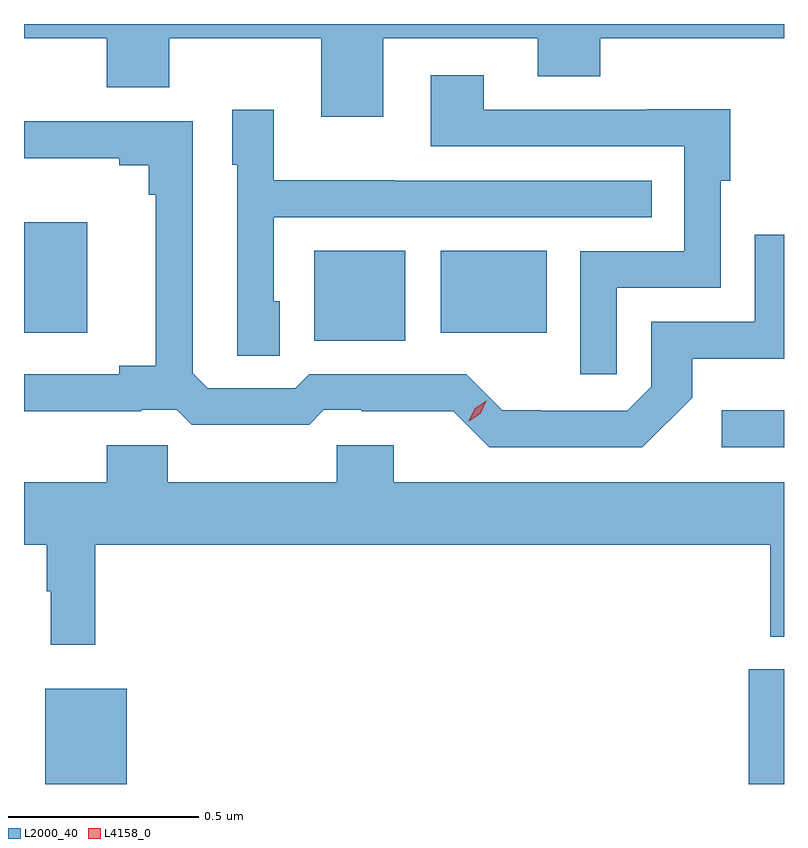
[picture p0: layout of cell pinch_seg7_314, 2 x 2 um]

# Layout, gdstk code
import gdstk
lib = gdstk.Library(unit=1e-6, precision=1e-09)
def R(c, l, rs):  # rectangles x0, y0, x1, y1
    for r in rs: c.add(gdstk.rectangle(r[:2], r[2:], *l))
def P(c, l, *ps):  # polygons
    for p in ps: c.add(gdstk.Polygon(p, *l))
L2000_40 = (2000, 40)
L4158_0 = (4158, 0)

pinch_seg7_314 = lib.new_cell('pinch_seg7_314')
R(pinch_seg7_314, L2000_40, [(555.551,1049.27,555.766,1049.521), (557.402,1049.27,557.495,1049.572), (557.331,1050.156,557.495,1050.253), (556.259,1050.437,556.498,1050.673), (555.495,1050.458,555.661,1050.748), (556.592,1050.458,556.87,1050.673)])
P(pinch_seg7_314, L2000_40, [(556.441,1051.232),(556.847,1051.232),(556.847,1051.133),(557.011,1051.133),(557.011,1051.232),(557.495,1051.232),(557.495,1051.27),(555.495,1051.27),(555.495,1051.232),(555.713,1051.232),(555.713,1051.104),(555.877,1051.104),(555.877,1051.232),(556.277,1051.232),(556.277,1051.026),(556.441,1051.026)],
  [(557.055,1050.576),(557.328,1050.576),(557.328,1050.858),(557.353,1050.858),(557.353,1051.046),(557.135,1051.046),(557.135,1051.044),(556.705,1051.044),(556.705,1051.135),(556.565,1051.135),(556.565,1050.948),(557.232,1050.948),(557.232,1050.672),(556.959,1050.672),(556.959,1050.348),(557.055,1050.348)],
  [(556.168,1050.54),(556.152,1050.54),(556.152,1050.762),(557.147,1050.762),(557.147,1050.858),(556.469,1050.858),(556.469,1050.859),(556.152,1050.859),(556.152,1051.045),(556.043,1051.045),(556.043,1050.9),(556.056,1050.9),(556.056,1050.397),(556.168,1050.397)],
  [(557.253,1050.287),(557.253,1050.389),(557.495,1050.389),(557.495,1050.715),(557.418,1050.715),(557.418,1050.486),(557.145,1050.486),(557.145,1050.315),(557.082,1050.252),(556.858,1050.252),(556.858,1050.254),(556.754,1050.254),(556.659,1050.348),(556.245,1050.348),(556.209,1050.312),(555.978,1050.312),(555.939,1050.351),(555.939,1051.014),(555.495,1051.014),(555.495,1050.917),(555.746,1050.917),(555.746,1050.898),(555.823,1050.898),(555.823,1050.821),(555.842,1050.821),(555.842,1050.371),(555.746,1050.371),(555.746,1050.348),(555.495,1050.348),(555.495,1050.251),(555.803,1050.251),(555.803,1050.255),(555.897,1050.255),(555.937,1050.216),(556.245,1050.216),(556.284,1050.255),(556.384,1050.255),(556.384,1050.251),(556.625,1050.251),(556.719,1050.156),(557.122,1050.156)],
  [(555.683,1049.9),(557.459,1049.9),(557.459,1049.657),(557.495,1049.657),(557.495,1050.064),(556.468,1050.064),(556.468,1050.162),(556.318,1050.162),(556.318,1050.064),(555.873,1050.064),(555.873,1050.162),(555.713,1050.162),(555.713,1050.064),(555.495,1050.064),(555.495,1049.9),(555.555,1049.9),(555.555,1049.777),(555.566,1049.777),(555.566,1049.637),(555.683,1049.637)])
P(pinch_seg7_314, L4158_0, [(556.665,1050.224),(556.665,1050.224),(556.681,1050.258),(556.712,1050.278),(556.712,1050.278),(556.712,1050.278),(556.696,1050.244),(556.665,1050.224)])

lib.write_gds('pinch_seg7_314.gds')
